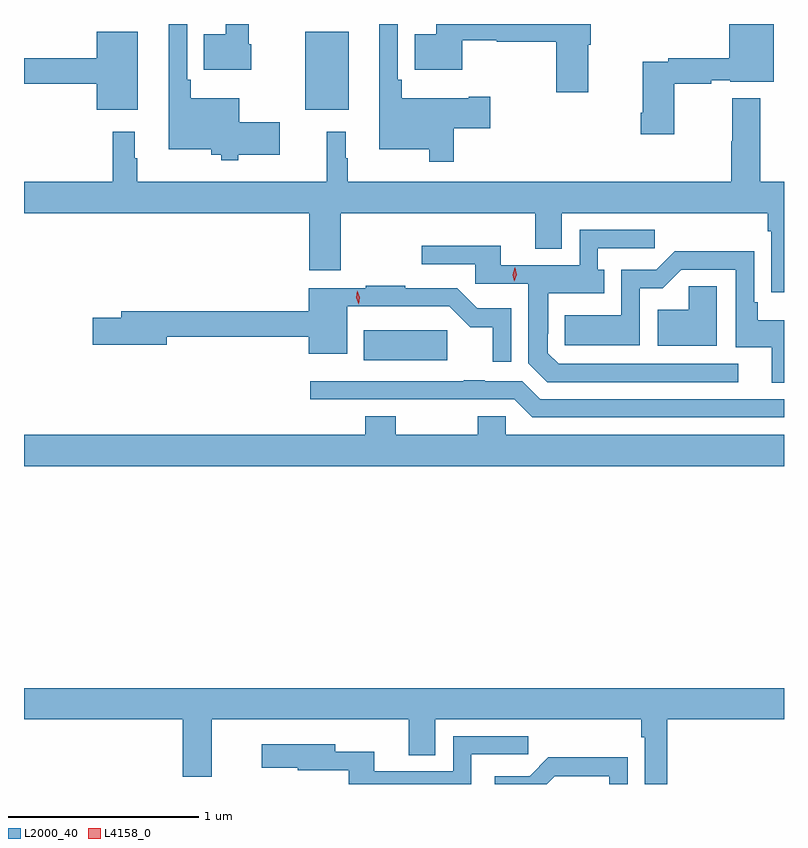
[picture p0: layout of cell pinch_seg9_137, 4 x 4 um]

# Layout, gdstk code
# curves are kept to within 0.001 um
import gdstk
lib = gdstk.Library(unit=1e-6, precision=1e-09)
def R(c, l, rs):  # rectangles x0, y0, x1, y1
    for r in rs: c.add(gdstk.rectangle(r[:2], r[2:], *l))
def P(c, l, *ps):  # polygons
    for p in ps: c.add(gdstk.Polygon(p, *l))
L2000_40 = (2000, 40)
L4158_0 = (4158, 0)

pinch_seg9_137 = lib.new_cell('pinch_seg9_137')
R(pinch_seg9_137, L2000_40, [(648.278,1232.942,648.718,1233.1), (647.972,1234.259,648.199,1234.669)])
P(pinch_seg9_137, L2000_40, [(649.914,1234.396),(650.108,1234.396),(650.108,1234.416),(650.208,1234.416),(650.208,1234.406),(650.437,1234.406),(650.437,1234.711),(650.204,1234.711),(650.204,1234.532),(649.882,1234.532),(649.882,1234.512),(649.748,1234.512),(649.748,1234.243),(649.736,1234.243),(649.736,1234.131),(649.914,1234.131)],
  [(647.619,1234.022),(647.836,1234.022),(647.836,1234.193),(647.623,1234.193),(647.623,1234.321),(647.369,1234.321),(647.369,1234.417),(647.349,1234.417),(647.349,1234.711),(647.252,1234.711),(647.252,1234.052),(647.476,1234.052),(647.476,1234.022),(647.529,1234.022),(647.529,1233.995),(647.619,1233.995)],
  [(647.686,1234.605),(647.674,1234.605),(647.674,1234.711),(647.552,1234.711),(647.552,1234.657),(647.438,1234.657),(647.438,1234.469),(647.686,1234.469)],
  [(648.752,1234.163),(648.946,1234.163),(648.946,1234.329),(648.833,1234.329),(648.833,1234.321),(648.479,1234.321),(648.479,1234.417),(648.459,1234.417),(648.459,1234.711),(648.362,1234.711),(648.362,1234.052),(648.624,1234.052),(648.624,1233.987),(648.752,1233.987)],
  [(649.462,1234.601),(649.475,1234.601),(649.475,1234.711),(648.662,1234.711),(648.662,1234.657),(648.548,1234.657),(648.548,1234.469),(648.797,1234.469),(648.797,1234.626),(648.98,1234.626),(648.98,1234.618),(649.292,1234.618),(649.292,1234.353),(649.462,1234.353)],
  [(647.089,1234.669),(646.874,1234.669),(646.874,1234.532),(646.491,1234.532),(646.491,1234.396),(646.874,1234.396),(646.874,1234.259),(647.089,1234.259)],
  [(650.491,1233.88),(650.365,1233.88),(650.365,1234.321),(650.218,1234.321),(650.218,1234.095),(650.213,1234.095),(650.213,1233.88),(648.196,1233.88),(648.196,1234.004),(648.184,1234.004),(648.184,1234.144),(648.085,1234.144),(648.085,1233.88),(647.086,1233.88),(647.086,1234.004),(647.074,1234.004),(647.074,1234.144),(646.957,1234.144),(646.957,1233.88),(646.491,1233.88),(646.491,1233.716),(647.993,1233.716),(647.993,1233.414),(648.158,1233.414),(648.158,1233.716),(649.181,1233.716),(649.181,1233.527),(649.321,1233.527),(649.321,1233.716),(650.406,1233.716),(650.406,1233.62),(650.423,1233.62),(650.423,1233.3),(650.491,1233.3)],
  [(650.251,1232.922),(649.305,1232.922),(649.248,1232.979),(649.249,1233.293),(649.546,1233.293),(649.546,1233.418),(649.512,1233.418),(649.512,1233.532),(649.81,1233.532),(649.81,1233.627),(649.416,1233.627),(649.416,1233.442),(649,1233.441),(649,1233.544),(648.585,1233.544),(648.585,1233.447),(648.867,1233.447),(648.867,1233.345),(649.145,1233.345),(649.145,1232.926),(649.245,1232.826),(650.251,1232.826)],
  [(650.491,1233.151),(650.354,1233.151),(650.354,1233.247),(650.334,1233.247),(650.334,1233.515),(649.916,1233.515),(649.818,1233.417),(649.635,1233.417),(649.635,1233.178),(649.338,1233.178),(649.338,1233.02),(649.731,1233.02),(649.731,1233.321),(649.854,1233.321),(649.95,1233.417),(650.238,1233.417),(650.238,1233.011),(650.426,1233.011),(650.426,1232.823),(650.491,1232.823)],
  [(649.056,1233.216),(648.876,1233.216),(648.771,1233.321),(648.497,1233.321),(648.497,1233.334),(648.289,1233.334),(648.289,1233.321),(647.99,1233.321),(647.99,1233.2),(647.003,1233.2),(647.003,1233.164),(646.854,1233.164),(646.854,1233.022),(647.242,1233.022),(647.242,1233.064),(647.99,1233.064),(647.99,1232.975),(648.193,1232.975),(648.193,1233.225),(648.729,1233.225),(648.839,1233.115),(648.958,1233.115),(648.958,1232.934),(649.056,1232.934)],
  [(650.137,1233.331),(649.99,1233.331),(649.99,1233.208),(649.826,1233.208),(649.826,1233.017),(650.137,1233.017)],
  [(650.491,1232.736),(649.209,1232.736),(649.113,1232.832),(648.916,1232.832),(648.916,1232.837),(648.805,1232.837),(648.805,1232.832),(647.997,1232.832),(647.997,1232.736),(649.071,1232.736),(649.167,1232.64),(650.491,1232.64)],
  [(650.491,1232.548),(649.026,1232.548),(649.026,1232.646),(648.88,1232.646),(648.88,1232.548),(648.447,1232.548),(648.447,1232.647),(648.287,1232.647),(648.287,1232.548),(646.491,1232.548),(646.491,1232.384),(650.491,1232.384)],
  [(649.876,1231.052),(650.491,1231.052),(650.491,1231.216),(646.491,1231.216),(646.491,1231.052),(647.327,1231.052),(647.327,1230.75),(647.479,1230.75),(647.479,1231.052),(648.515,1231.052),(648.515,1230.862),(648.655,1230.862),(648.655,1231.052),(649.74,1231.052),(649.74,1230.956),(649.757,1230.956),(649.757,1230.711),(649.876,1230.711)],
  [(648.846,1230.868),(649.144,1230.868),(649.144,1230.963),(648.75,1230.963),(648.75,1230.777),(648.334,1230.777),(648.334,1230.88),(648.13,1230.88),(648.13,1230.919),(647.742,1230.919),(647.742,1230.797),(647.931,1230.797),(647.931,1230.783),(648.201,1230.783),(648.201,1230.711),(648.846,1230.711)],
  [(649.284,1230.753),(649.572,1230.753),(649.572,1230.711),(649.668,1230.711),(649.668,1230.851),(649.25,1230.851),(649.152,1230.753),(648.969,1230.753),(648.969,1230.711),(649.242,1230.711)])
P(pinch_seg9_137, L4158_0, [(649.071,1233.356),(649.071,1233.356),(649.063,1233.392),(649.075,1233.427),(649.076,1233.427),(649.076,1233.427),(649.084,1233.391),(649.072,1233.356)],
  [(648.252,1233.236),(648.252,1233.236),(648.239,1233.27),(648.246,1233.306),(648.246,1233.307),(648.246,1233.306),(648.259,1233.272),(648.252,1233.236)])

lib.write_gds('pinch_seg9_137.gds')
